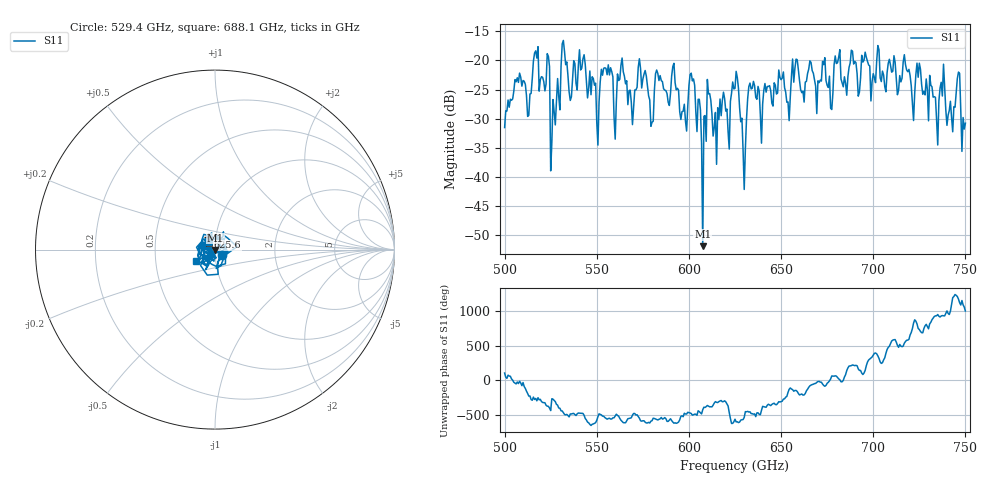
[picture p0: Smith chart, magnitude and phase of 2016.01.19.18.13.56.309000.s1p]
!Created with skrf (http://scikit-rf.org).
# GHz S RI R 50.0
!freq ReS11 ImS11
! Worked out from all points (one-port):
!   401 points, 500 GHz to 750 GHz, reference 50 ohm
!   lowest |S11| = -51.9 dB at 607.5 GHz (marker M1), VSWR 1.01, Z = 50.1 - j0.228 ohm
!   |S11| at or under -10 dB: start of sweep to end of sweep
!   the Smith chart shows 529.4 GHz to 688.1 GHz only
!   S11 on the Smith chart (normalised r, x): 529.4 GHz: 1.08, -0.07; 625.6 GHz: 0.91, +0.13; 688.1 GHz: 0.81, -0.11
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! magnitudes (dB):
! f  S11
! 500 GHz  -31.5
! 506.9 GHz  -23.0
! 513.1 GHz  -29.4
! 516.9 GHz  -18.3
! 523.1 GHz  -18.8
! 526.2 GHz  -26.7
! 529.4 GHz  -26.2
! 531.2 GHz  -17.2
! 550 GHz  -30.6
! 562.5 GHz  -23.2
! 579.4 GHz  -31.3
! 583.1 GHz  -22.2
! 593.8 GHz  -24.8
! 601.9 GHz  -23.5
! 607.5 GHz  -51.9
! 611.2 GHz  -25.7
! 613.8 GHz  -31.5
! 625 GHz  -24.8
! 625.6 GHz  -21.9
! 629.4 GHz  -35.4
! 633.8 GHz  -24.9
! 656.2 GHz  -19.8
! 687.5 GHz  -20.4
! 688.1 GHz  -18.2
! 718.8 GHz  -21.9
! 734.4 GHz  -30.2
! 746.2 GHz  -22.0
! 750 GHz  -30.8
